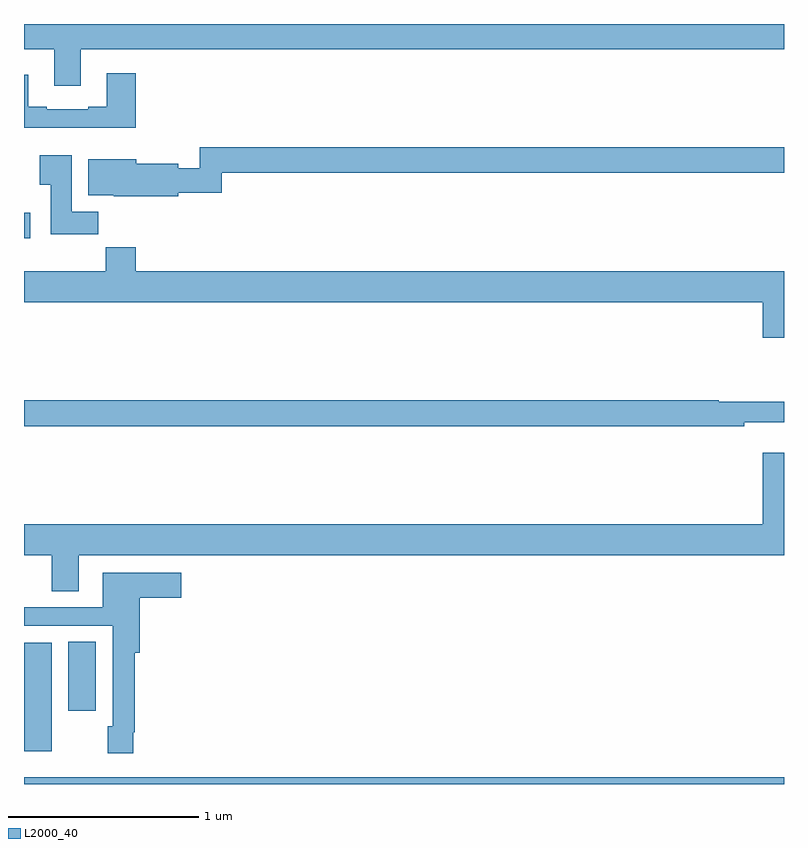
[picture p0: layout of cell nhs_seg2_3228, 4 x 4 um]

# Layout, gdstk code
import gdstk
lib = gdstk.Library(unit=1e-6, precision=1e-09)
def R(c, l, rs):  # rectangles x0, y0, x1, y1
    for r in rs: c.add(gdstk.rectangle(r[:2], r[2:], *l))
def P(c, l, *ps):  # polygons
    for p in ps: c.add(gdstk.Polygon(p, *l))
L2000_40 = (2000, 40)

nhs_seg2_3228 = lib.new_cell('nhs_seg2_3228')
R(nhs_seg2_3228, L2000_40, [(281,611.8,285,611.836), (281,611.972,281.146,612.544), (281.234,612.186,281.377,612.548), (281,614.672,281.032,614.806)])
P(nhs_seg2_3228, L2000_40, [(281.299,615.668),(285,615.668),(285,615.8),(281,615.8),(281,615.668),(281.159,615.668),(281.159,615.474),(281.299,615.474)],
  [(281.588,615.541),(281.435,615.541),(281.435,615.364),(281.339,615.364),(281.339,615.351),(281.119,615.351),(281.119,615.364),(281.023,615.364),(281.023,615.532),(281,615.532),(281,615.254),(281.588,615.254)],
  [(281.812,614.913),(282.041,614.913),(282.041,615.016),(285,615.016),(285,615.152),(281.925,615.152),(281.925,615.041),(281.812,615.041),(281.812,615.065),(281.59,615.065),(281.59,615.088),(281.339,615.088),(281.339,614.9),(281.472,614.9),(281.472,614.894),(281.812,614.894)],
  [(281.39,614.812),(281.251,614.812),(281.251,615.109),(281.084,615.109),(281.084,614.953),(281.141,614.953),(281.141,614.694),(281.39,614.694)],
  [(285,614.5),(281.588,614.5),(281.588,614.624),(281.431,614.624),(281.431,614.5),(281,614.5),(281,614.336),(284.888,614.336),(284.888,614.148),(285,614.148)],
  [(284.792,613.703),(285,613.703),(285,613.813),(284.656,613.813),(284.656,613.82),(281,613.82),(281,613.684),(284.792,613.684)],
  [(281.287,613.004),(285,613.004),(285,613.543),(284.888,613.543),(284.888,613.168),(281,613.168),(281,613.004),(281.147,613.004),(281.147,612.814),(281.287,612.814)],
  [(281.575,612.073),(281.582,612.073),(281.582,612.491),(281.609,612.491),(281.609,612.779),(281.827,612.779),(281.827,612.913),(281.414,612.913),(281.414,612.729),(281,612.729),(281,612.633),(281.466,612.633),(281.466,612.105),(281.44,612.105),(281.44,611.961),(281.575,611.961)])

lib.write_gds('nhs_seg2_3228.gds')
